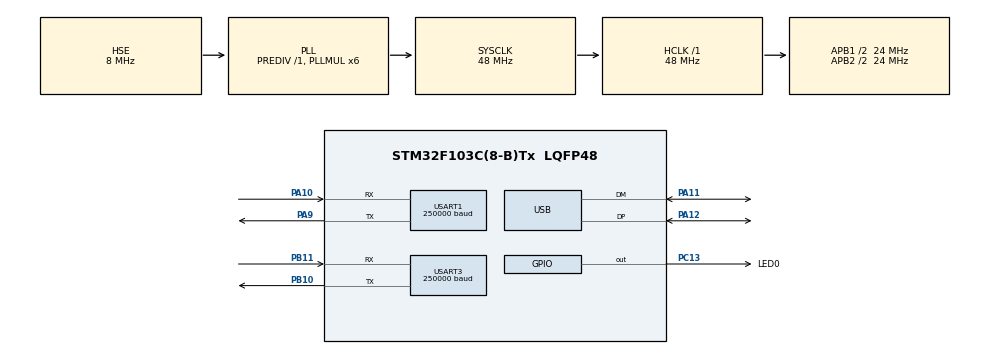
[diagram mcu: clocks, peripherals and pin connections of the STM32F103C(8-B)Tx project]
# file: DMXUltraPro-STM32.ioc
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FREERTOS.Tasks01=UsbTask,0,256,StartUsbTask,Default,NULL,Dynamic,NULL,NULL;DmxTask,0,128,StartDmxTask,Default,NULL,Dynamic,NULL,NULL
FREERTOS.configTIMER_TASK_PRIORITY=0
FREERTOS.configTIMER_TASK_STACK_DEPTH=256
FREERTOS.configUSE_NEWLIB_REENTRANT=1
FREERTOS.configUSE_TIMERS=0
Mcu.Family=STM32F1
Mcu.Name=STM32F103C(8-B)Tx
Mcu.Package=LQFP48
NVIC.PriorityGroup=NVIC_PRIORITYGROUP_4
NVIC.TIM1_UP_IRQn=true\:15\:0\:false\:false\:true\:false\:false\:true\:true
NVIC.TIM2_IRQn=true\:15\:0\:true\:false\:true\:true\:true\:true\:true
NVIC.TimeBase=TIM1_UP_IRQn
NVIC.TimeBaseIP=TIM1
NVIC.USB_HP_CAN1_TX_IRQn=true\:5\:0\:false\:false\:true\:true\:true\:true\:true
NVIC.USB_LP_CAN1_RX0_IRQn=true\:5\:0\:false\:false\:true\:true\:true\:true\:true
PA10.Mode=Asynchronous
PA10.Signal=USART1_RX
PA11.Mode=Device
PA11.Signal=USB_DM
PA12.Mode=Device
PA12.Signal=USB_DP
PA13.Mode=Serial_Wire
PA13.Signal=SYS_JTMS-SWDIO
PA14.Mode=Serial_Wire
PA14.Signal=SYS_JTCK-SWCLK
PA9.Mode=Asynchronous
PA9.Signal=USART1_TX
PB10.Mode=Asynchronous
PB10.Signal=USART3_TX
PB11.Mode=Asynchronous
PB11.Signal=USART3_RX
PC13-TAMPER-RTC.GPIO_Label=LED0
PC13-TAMPER-RTC.GPIO_Speed=GPIO_SPEED_FREQ_LOW
PC13-TAMPER-RTC.PinState=GPIO_PIN_SET
PC13-TAMPER-RTC.Signal=GPIO_Output
PC14-OSC32_IN.Mode=LSE-External-Oscillator
PC14-OSC32_IN.Signal=RCC_OSC32_IN
PC15-OSC32_OUT.Mode=LSE-External-Oscillator
PC15-OSC32_OUT.Signal=RCC_OSC32_OUT
PD0-OSC_IN.Mode=HSE-External-Oscillator
PD0-OSC_IN.Signal=RCC_OSC_IN
PD1-OSC_OUT.Mode=HSE-External-Oscillator
PD1-OSC_OUT.Signal=RCC_OSC_OUT
ProjectManager.HeapSize=0x200
ProjectManager.StackSize=0x400
ProjectManager.TargetToolchain=STM32CubeIDE
RCC.AHBFreq_Value=48000000
RCC.APB1CLKDivider=RCC_HCLK_DIV2
RCC.APB1Freq_Value=24000000
RCC.APB1TimFreq_Value=48000000
RCC.APB2CLKDivider=RCC_HCLK_DIV2
RCC.APB2Freq_Value=24000000
RCC.APB2TimFreq_Value=48000000
RCC.HCLKFreq_Value=48000000
RCC.PLLMUL=RCC_PLL_MUL6
RCC.PLLSourceVirtual=RCC_PLLSOURCE_HSE
RCC.SYSCLKFreq_VALUE=48000000
RCC.SYSCLKSource=RCC_SYSCLKSOURCE_PLLCLK
RCC.USBFreq_Value=48000000
TIM2.Period=1000
TIM2.Prescaler=47
USART1.BaudRate=250000
USART1.Mode=MODE_TX
USART1.StopBits=STOPBITS_2
USART1.VirtualMode=VM_ASYNC
USART1.WordLength=WORDLENGTH_9B
USART3.BaudRate=250000
USART3.Mode=MODE_TX
USART3.StopBits=STOPBITS_2
USART3.VirtualMode=VM_ASYNC
USART3.WordLength=WORDLENGTH_9B
VP_FREERTOS_VS_CMSIS_V1.Mode=CMSIS_V1
VP_SYS_VS_tim1.Mode=TIM1
VP_TIM2_VS_ClockSourceINT.Mode=Internal
board=custom

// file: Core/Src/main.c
/* USER CODE BEGIN Header */
/**
  ******************************************************************************
  * @file           : main.c
  * @brief          : Main program body
  ******************************************************************************
  * @attention
  *
  * Copyright (c) 2022 STMicroelectronics.
  * All rights reserved.
  *
  * This software is licensed under terms that can be found in the LICENSE file
  * in the root directory of this software component.
  * If no LICENSE file comes with this software, it is provided AS-IS.
  *
  ******************************************************************************
  */
/* USER CODE END Header */
#include "main.h"
#include "cmsis_os.h"

/* USER CODE BEGIN Includes */
#include "usbftdi.h"
#include "dmx512.h"
/* USER CODE END Includes */

/* USER CODE BEGIN PD */
#define LED0_TIMEOUT 34
#define USB_RESET_TIMEOUT 1000
/* USER CODE END PD */

 TIM_HandleTypeDef htim2;

UART_HandleTypeDef huart1;
UART_HandleTypeDef huart3;

PCD_HandleTypeDef hpcd_USB_FS;

osThreadId UsbTaskHandle;
osThreadId DmxTaskHandle;

void SystemClock_Config(void);
static void MX_GPIO_Init(void);
static void MX_USART1_UART_Init(void);
static void MX_USART3_UART_Init(void);
static void MX_USB_PCD_Init(void);
static void MX_TIM2_Init(void);
void StartUsbTask(void const * argument);
void StartDmxTask(void const * argument);

int main(void)
{

  /* MCU Configuration--------------------------------------------------------*/

  /* Reset of all peripherals, Initializes the Flash interface and the Systick. */
  HAL_Init();

  /* Configure the system clock */
  SystemClock_Config();

  /* Initialize all configured peripherals */
  MX_GPIO_Init();
  MX_USART1_UART_Init();
  MX_USART3_UART_Init();
  MX_USB_PCD_Init();
  MX_TIM2_Init();
  /* USER CODE BEGIN 2 */

	/* Need to put your code here */
#if CFG_TUSB_MCU  == OPT_MCU_STM32F1
  /* RESET USB 12 PIN*/
  __HAL_RCC_GPIOA_CLK_ENABLE();
  GPIO_InitTypeDef  GPIO_InitStruct;
  HAL_GPIO_WritePin(GPIOA, GPIO_PIN_12, GPIO_PIN_RESET);
  GPIO_InitStruct.Pin = GPIO_PIN_12;
  GPIO_InitStruct.Mode = GPIO_MODE_OUTPUT_PP;
  GPIO_InitStruct.Pull = GPIO_NOPULL;
  GPIO_InitStruct.Speed = GPIO_SPEED_FREQ_LOW;
  HAL_GPIO_Init(GPIOA, &GPIO_InitStruct);
  HAL_Delay(200);
  HAL_GPIO_DeInit(GPIOA, GPIO_PIN_12);
  GPIO_InitStruct.Pin = (GPIO_PIN_11 | GPIO_PIN_12);
  GPIO_InitStruct.Mode = GPIO_MODE_INPUT;
  GPIO_InitStruct.Pull = GPIO_NOPULL;
  GPIO_InitStruct.Speed = GPIO_SPEED_FREQ_HIGH;
  HAL_GPIO_Init(GPIOA, &GPIO_InitStruct);
#endif

  /* USER CODE END 2 */

  /* Create the thread(s) */
  /* definition and creation of UsbTask */
  osThreadDef(UsbTask, StartUsbTask, osPriorityNormal, 0, 256);
  UsbTaskHandle = osThreadCreate(osThread(UsbTask), NULL);

  /* definition and creation of DmxTask */
  osThreadDef(DmxTask, StartDmxTask, osPriorityNormal, 0, 128);
  DmxTaskHandle = osThreadCreate(osThread(DmxTask), NULL);

  /* Start scheduler */
  osKernelStart();

  /* We should never get here as control is now taken by the scheduler */
  /* Infinite loop */
  while (1)
  {

  }
}

void SystemClock_Config(void)
{
  RCC_OscInitTypeDef RCC_OscInitStruct = {0};
  RCC_ClkInitTypeDef RCC_ClkInitStruct = {0};
  RCC_PeriphCLKInitTypeDef PeriphClkInit = {0};

  /** Initializes the RCC Oscillators according to the specified parameters
  * in the RCC_OscInitTypeDef structure.
  */
  RCC_OscInitStruct.OscillatorType = RCC_OSCILLATORTYPE_HSE;
  RCC_OscInitStruct.HSEState = RCC_HSE_ON;
  RCC_OscInitStruct.HSEPredivValue = RCC_HSE_PREDIV_DIV1;
  RCC_OscInitStruct.HSIState = RCC_HSI_ON;
  RCC_OscInitStruct.PLL.PLLState = RCC_PLL_ON;
  RCC_OscInitStruct.PLL.PLLSource = RCC_PLLSOURCE_HSE;
  RCC_OscInitStruct.PLL.PLLMUL = RCC_PLL_MUL6;
  if (HAL_RCC_OscConfig(&RCC_OscInitStruct) != HAL_OK)
  {
    Error_Handler();
  }

  /** Initializes the CPU, AHB and APB buses clocks
  */
  RCC_ClkInitStruct.ClockType = RCC_CLOCKTYPE_HCLK|RCC_CLOCKTYPE_SYSCLK
                              |RCC_CLOCKTYPE_PCLK1|RCC_CLOCKTYPE_PCLK2;
  RCC_ClkInitStruct.SYSCLKSource = RCC_SYSCLKSOURCE_PLLCLK;
  RCC_ClkInitStruct.AHBCLKDivider = RCC_SYSCLK_DIV1;
  RCC_ClkInitStruct.APB1CLKDivider = RCC_HCLK_DIV2;
  RCC_ClkInitStruct.APB2CLKDivider = RCC_HCLK_DIV2;

  if (HAL_RCC_ClockConfig(&RCC_ClkInitStruct, FLASH_LATENCY_1) != HAL_OK)
  {
    Error_Handler();
  }
  PeriphClkInit.PeriphClockSelection = RCC_PERIPHCLK_USB;
  PeriphClkInit.UsbClockSelection = RCC_USBCLKSOURCE_PLL;
  if (HAL_RCCEx_PeriphCLKConfig(&PeriphClkInit) != HAL_OK)
  {
    Error_Handler();
  }
}

static void MX_TIM2_Init(void)
{

  TIM_ClockConfigTypeDef sClockSourceConfig = {0};
  TIM_MasterConfigTypeDef sMasterConfig = {0};

  htim2.Instance = TIM2;
  htim2.Init.Prescaler = 47;
  htim2.Init.CounterMode = TIM_COUNTERMODE_UP;
  htim2.Init.Period = 1000;
  htim2.Init.ClockDivision = TIM_CLOCKDIVISION_DIV1;
  htim2.Init.AutoReloadPreload = TIM_AUTORELOAD_PRELOAD_DISABLE;
  if (HAL_TIM_Base_Init(&htim2) != HAL_OK)
  {
    Error_Handler();
  }
  sClockSourceConfig.ClockSource = TIM_CLOCKSOURCE_INTERNAL;
  if (HAL_TIM_ConfigClockSource(&htim2, &sClockSourceConfig) != HAL_OK)
  {
    Error_Handler();
  }
  sMasterConfig.MasterOutputTrigger = TIM_TRGO_RESET;
  sMasterConfig.MasterSlaveMode = TIM_MASTERSLAVEMODE_DISABLE;
  if (HAL_TIMEx_MasterConfigSynchronization(&htim2, &sMasterConfig) != HAL_OK)
  {
    Error_Handler();
  }

}

static void MX_USART1_UART_Init(void)
{

  huart1.Instance = USART1;
  huart1.Init.BaudRate = 250000;
  huart1.Init.WordLength = UART_WORDLENGTH_9B;
  huart1.Init.StopBits = UART_STOPBITS_2;
  huart1.Init.Parity = UART_PARITY_NONE;
  huart1.Init.Mode = UART_MODE_TX;
  huart1.Init.HwFlowCtl = UART_HWCONTROL_NONE;
  huart1.Init.OverSampling = UART_OVERSAMPLING_16;
  if (HAL_UART_Init(&huart1) != HAL_OK)
  {
    Error_Handler();
  }

}

static void MX_USART3_UART_Init(void)
{

  huart3.Instance = USART3;
  huart3.Init.BaudRate = 250000;
  huart3.Init.WordLength = UART_WORDLENGTH_9B;
  huart3.Init.StopBits = UART_STOPBITS_2;
  huart3.Init.Parity = UART_PARITY_NONE;
  huart3.Init.Mode = UART_MODE_TX;
  huart3.Init.HwFlowCtl = UART_HWCONTROL_NONE;
  huart3.Init.OverSampling = UART_OVERSAMPLING_16;
  if (HAL_UART_Init(&huart3) != HAL_OK)
  {
    Error_Handler();
  }

}

static void MX_USB_PCD_Init(void)
{

  /* USER CODE BEGIN USB_Init 0 */
	return;
  /* USER CODE END USB_Init 0 */

  hpcd_USB_FS.Instance = USB;
  hpcd_USB_FS.Init.dev_endpoints = 8;
  hpcd_USB_FS.Init.speed = PCD_SPEED_FULL;
  hpcd_USB_FS.Init.low_power_enable = DISABLE;
  hpcd_USB_FS.Init.lpm_enable = DISABLE;
  hpcd_USB_FS.Init.battery_charging_enable = DISABLE;
  if (HAL_PCD_Init(&hpcd_USB_FS) != HAL_OK)
  {
    Error_Handler();
  }

}

static void MX_GPIO_Init(void)
{
  GPIO_InitTypeDef GPIO_InitStruct = {0};

  /* GPIO Ports Clock Enable */
  __HAL_RCC_GPIOC_CLK_ENABLE();
  __HAL_RCC_GPIOD_CLK_ENABLE();
  __HAL_RCC_GPIOB_CLK_ENABLE();
  __HAL_RCC_GPIOA_CLK_ENABLE();

  /*Configure GPIO pin Output Level */
  HAL_GPIO_WritePin(LED0_GPIO_Port, LED0_Pin, GPIO_PIN_SET);

  /*Configure GPIO pin : LED0_Pin */
  GPIO_InitStruct.Pin = LED0_Pin;
  GPIO_InitStruct.Mode = GPIO_MODE_OUTPUT_PP;
  GPIO_InitStruct.Pull = GPIO_NOPULL;
  GPIO_InitStruct.Speed = GPIO_SPEED_FREQ_LOW;
  HAL_GPIO_Init(LED0_GPIO_Port, &GPIO_InitStruct);

}

/* USER CODE BEGIN 4 */

static uint32_t lastMessageRecieved = 0;

void messageRecieved(void){
	if(lastMessageRecieved == 0){
		__HAL_TIM_CLEAR_FLAG(&htim2, TIM_SR_UIF);
		HAL_TIM_Base_Start_IT(&htim2);
	} else
		lastMessageRecieved = 0;
    //HAL_GPIO_TogglePin(LED0_GPIO_Port,LED0_Pin);
    HAL_GPIO_WritePin(LED0_GPIO_Port, LED0_Pin, GPIO_PIN_RESET);
}

/* USER CODE END 4 */

void StartUsbTask(void const * argument)
{
  /* USER CODE BEGIN 5 */
  usb_ftdi_init();
  /* Infinite loop */
  for(;;)
  {
    usb_ftdi_poll();
  }
  /* USER CODE END 5 */
}

void StartDmxTask(void const * argument)
{
  /* USER CODE BEGIN StartDmxTask */
	DMX_Init();
  /* Infinite loop */
  for(;;)
  {
	  DMX_Send_Packet();
  }
  /* USER CODE END StartDmxTask */
}

void HAL_TIM_PeriodElapsedCallback(TIM_HandleTypeDef *htim)
{
  if (htim->Instance == TIM1) {
    HAL_IncTick();
  }
  /* USER CODE BEGIN Callback 1 */
  if(htim->Instance == TIM2)
  {
	  lastMessageRecieved++;
	  if(lastMessageRecieved >= LED0_TIMEOUT)
		  HAL_GPIO_WritePin(LED0_GPIO_Port, LED0_Pin, GPIO_PIN_SET);
	  if(lastMessageRecieved >= USB_RESET_TIMEOUT)
		  NVIC_SystemReset();
  }
  /* USER CODE END Callback 1 */
}

void Error_Handler(void)
{
  __disable_irq();
  while (1)
  {
  }
}
